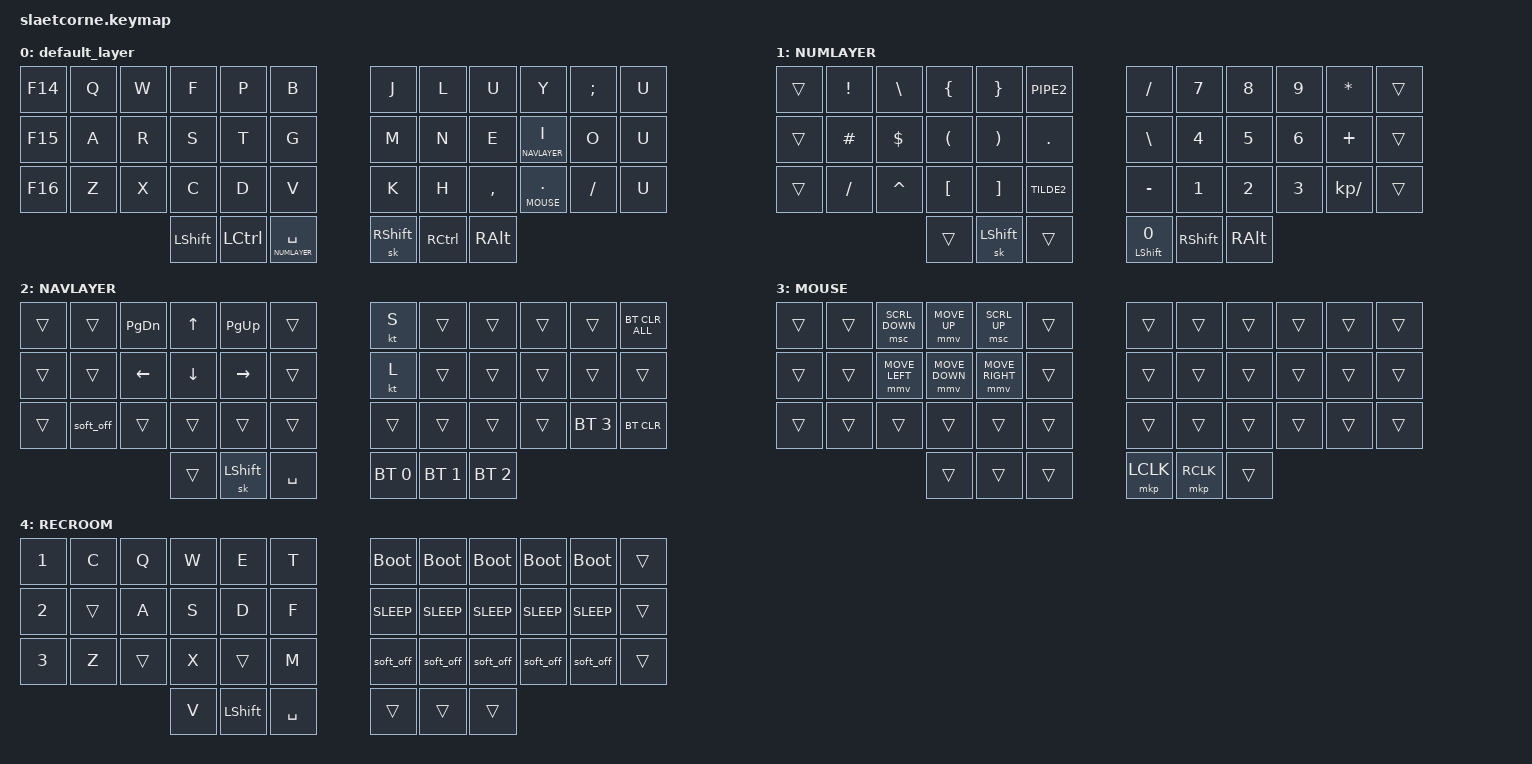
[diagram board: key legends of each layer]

#include <behaviors.dtsi>
#include <dt-bindings/zmk/keys.h>
#include <dt-bindings/zmk/bt.h>

#define ZMK_POINTING_DEFAULT_MOVE_VAL 3000  // default: 600
#define ZMK_POINTING_DEFAULT_SCRL_VAL 40    // default: 10

#include <dt-bindings/zmk/pointing.h>

#define DEFAULT      0
#define NUMLAYER     1
#define NAVLAYER     2
#define MOUSE        3
#define RECROOM      4

/*
  ╭─────────────────────────┬─────────────────────────╮ 
  │  0   1   2   3   4   5  │  6   7   8   9   10  11 │ 
  │  12  13  14  15  16  17 |  18  19  20  21  22  23 │ 
  │  24  25  26  27  28  29 |  30  31  32  33  34  35 │ 
  ╰────────────╮ 36  37  38 |  39 40  41 ╭────────────╯ 
               ╰────────────┴────────────╯            */

/ {
     behaviors {
        nbspc: n_bspc {
            compatible = "zmk,behavior-mod-morph";
            #binding-cells = <0>;
            bindings = <&kp N>, <&kp BSPC>;
            mods = <(MOD_LCTL|MOD_RALT)>;
        };
    };
    
    combos {
        compatible = "zmk,combos";
        combo_esc {
            timeout-ms = <50>;
            key-positions = <0 1>;
            bindings = <&kp ESC>;
        };
        combo_ent {
            timeout-ms = <50>;
            key-positions = <31 32>;
            bindings = <&kp RET>;
        };
        combo_bspc {
            timeout-ms = <50>;
            key-positions = <19 20>;
            bindings = <&kp BSPC>;
        };
        combo_tab {
            timeout-ms = <50>;
            key-positions = <3 4>;
            bindings = <&kp TAB>;
        };
        combo_quote {
            timeout-ms = <50>;
            key-positions = <7 8>;
            bindings = <&kp SQT>;
        };
        combo_lclk {
            timeout-ms = <50>;
            key-positions = <15 16>;
            bindings = <&mkp MB1>;
        };
        combo_rclk {
            timeout-ms = <50>;
            key-positions = <14 15>;
            bindings = <&mkp MB2>;
        };
        combo_del {
            timeout-ms = <50>;
            key-positions = <27 28>;
            bindings = <&kp DEL>;
        };
        combo_bootloader_left {
            timeout-ms = <50>;
            key-positions = <36 37 38>;
            bindings = <&bootloader>;
        };
        combo_bootloader_right {
            timeout-ms = <50>;
            key-positions = <39 40 41>;
            bindings = <&bootloader>;
        };
        combo_lgui {
            timeout-ms = <50>;
            key-positions = <26 27>;
            bindings = <&kp LGUI>;
        };
        combo_equal {
            timeout-ms = <50>;
            key-positions = <3 2>;
            bindings = <&kp EQUAL>;
        };
            combo_btclr {
            timeout-ms = <50>;
            key-positions = <0 12 24>;
            bindings = <&bt BT_CLR_ALL>;
        };
            combo_recroom {
            timeout-ms = <50>;
            key-positions = <33 34 35>;
            bindings = <&tog RECROOM>;
        };

    };
};

/ {
        keymap {
                compatible = "zmk,keymap";
                default_layer {

                        bindings = <
                                &kp F14    &kp Q   &kp W   &kp F       &kp P       &kp B                       &kp J       &kp L       &kp U       &kp Y               &kp SEMI   &kp U     
                                &kp F15    &kp A   &kp R   &kp S       &kp T       &kp G                       &kp M       &kp N       &kp E       &lt NAVLAYER I      &kp O      &kp U       
                                &kp F16    &kp Z   &kp X   &kp C       &kp D       &kp V                       &kp K       &kp H       &kp COMMA   &lt MOUSE DOT       &kp FSLH   &kp U   
                                                    &kp LSHIFT    &kp LCTRL   &lt NUMLAYER SPACE          &sk RSHIFT  &kp RCTRL   &kp RALT 
                  
                        >;
                };
                NUMLAYER {

                        bindings = <
                                &trans  &kp EXCL    &kp BSLH    &kp LBRC    &kp RBRC    &kp PIPE2               &kp FSLH    &kp N7  &kp N8  &kp N9   &kp ASTRK      &trans          
                                &trans  &kp HASH    &kp DLLR    &kp LPAR    &kp RPAR    &kp DOT                 &kp BSLH    &kp N4  &kp N5  &kp N6   &kp PLUS       &trans           
                                &trans  &kp FSLH    &kp CARET   &kp LBKT    &kp RBKT    &kp TILDE2              &kp MINUS   &kp N1  &kp N2  &kp N3   &kp KP_DIVIDE  &trans      
                                                                    &trans      &sk LSHIFT  &trans                  &mt LSHIFT NUMBER_0     &kp RSHIFT  &kp RALT
                  
                        >;
                };
                NAVLAYER {

                        bindings = <
                                &trans  &trans      &kp PG_DN   &kp UP      &kp PG_UP   &trans                  &kt S           &trans          &trans          &trans  &trans          &bt BT_CLR_ALL
                                &trans  &trans      &kp LEFT    &kp DOWN    &kp RIGHT   &trans                  &kt L           &trans          &trans          &trans  &trans          &trans
                                &trans  &soft_off   &trans      &trans      &trans      &trans                  &trans          &trans          &trans          &trans  &bt BT_SEL 3    &bt BT_CLR
                                                                &trans      &sk LSHIFT  &kp SPACE               &bt BT_SEL 0    &bt BT_SEL 1    &bt BT_SEL 2
                  
                        >;
                };
                MOUSE {

                        bindings = <
                                &trans  &trans  &msc SCRL_DOWN      &mmv MOVE_UP    &msc SCRL_UP        &trans                  &trans      &trans      &trans  &trans  &trans  &trans
                                &trans  &trans  &mmv MOVE_LEFT      &mmv MOVE_DOWN  &mmv MOVE_RIGHT     &trans                  &trans      &trans      &trans  &trans  &trans  &trans
                                &trans  &trans  &trans              &trans          &trans              &trans                  &trans      &trans      &trans  &trans  &trans  &trans
                                                                        &trans          &trans              &trans                  &mkp LCLK   &mkp RCLK   &trans                  
                        >;
                };

                RECROOM {

                        bindings = <
                             &kp NUMBER_1    &kp C           &kp Q           &kp W           &kp E           &kp T                   &bootloader     &bootloader     &bootloader     &bootloader     &bootloader   &trans 
                             &kp NUMBER_2     &trans          &kp A           &kp S           &kp D           &kp F           &kp K_SLEEP     &kp K_SLEEP     &kp K_SLEEP     &kp K_SLEEP     &kp K_SLEEP   &trans
                             &kp NUMBER_3     &kp Z           &trans          &kp X           &trans			&kp M           &soft_off       &soft_off       &soft_off       &soft_off       &soft_off     &trans
                                                            &kp V      &kp LSHIFT         &kp SPACE                   &trans          &trans          &trans                  
                        >;
                };

        };
};

/* You will never find what you seek... stop looking */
